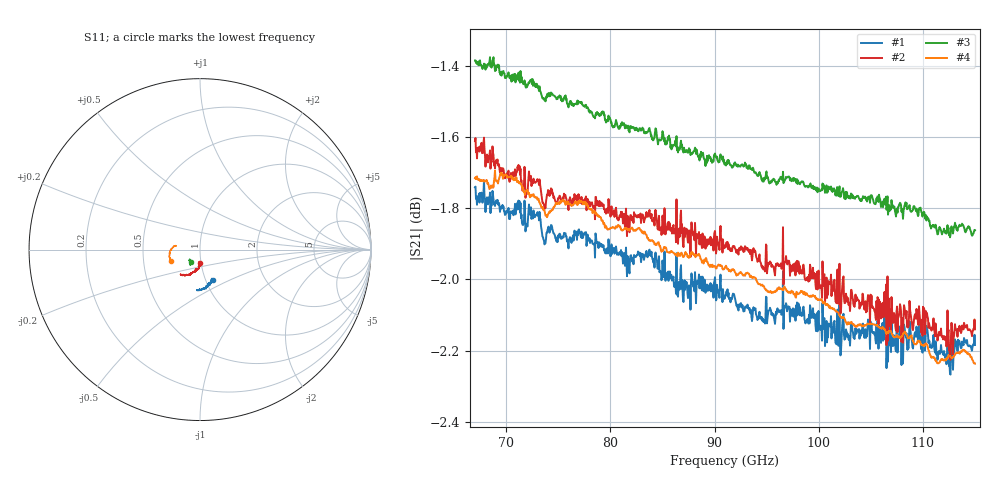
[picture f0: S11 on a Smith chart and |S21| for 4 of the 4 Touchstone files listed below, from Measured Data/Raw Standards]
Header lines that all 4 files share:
!Keysight Technologies,N5247B,MY61256062,A.16.20.04
!Correction: S11(C  2-Port  )
!S21(C  2-Port  )
!S12(C  2-Port  )
!S22(C  2-Port  )
!S2P File: Measurements: S11, S21, S12, S22:
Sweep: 67 GHz to 115 GHz
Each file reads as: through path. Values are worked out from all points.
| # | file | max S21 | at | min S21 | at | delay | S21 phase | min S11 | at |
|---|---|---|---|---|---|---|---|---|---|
| 1 | Thru_Arc_P1P4_67-115.s2p | -1.72 dB | 67.86 GHz | -2.3 dB | 112.6 GHz | 4.97 ps | -165 deg at 91 GHz | -14.8 dB | 69.64 GHz |
| 2 | Thru_Diagonal_P1P4_67-115.s2p | -1.60 dB | 67.86 GHz | -2.2 dB | 112.6 GHz | 4.74 ps | -165 deg at 91 GHz | -23.2 dB | 69.64 GHz |
| 3 | Thru_Straight_P1P2_67-115.s2p | -1.38 dB | 68.78 GHz | -1.9 dB | 112.6 GHz | 2.04 ps | -70 deg at 91 GHz | -21.7 dB | 88.65 GHz |
| 4 | Thru_Straight_P3P4_67-115.s2p | -1.69 dB | 68.92 GHz | -2.2 dB | 115 GHz | 2.05 ps | -71 deg at 91 GHz | -17.0 dB | 115 GHz |
